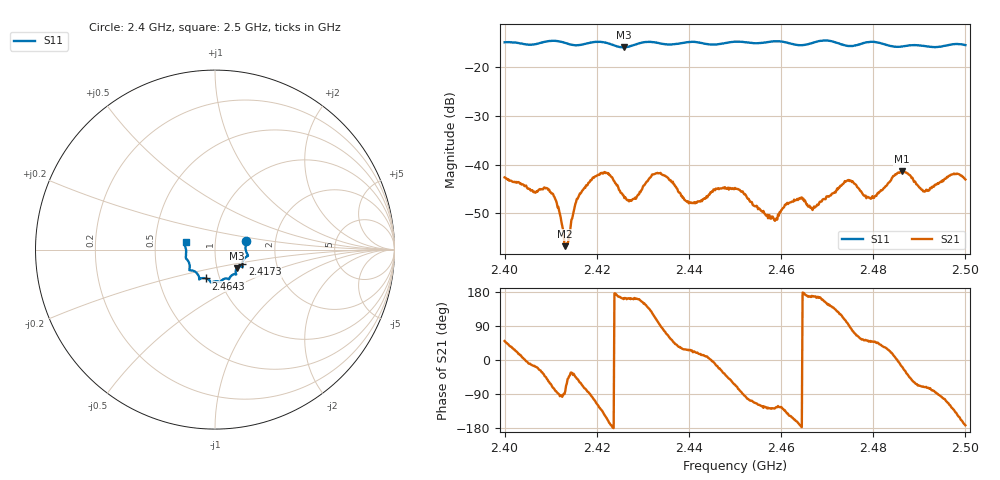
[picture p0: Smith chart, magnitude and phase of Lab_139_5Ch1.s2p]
# Hz S RI R 50
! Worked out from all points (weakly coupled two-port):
!   601 points, 2.4 GHz to 2.5 GHz, reference 50 ohm
!   highest |S21| = -41.36 dB at 2.4862 GHz (marker M1); lowest = -56.7 dB at 2.4132 GHz (marker M2)
!   lowest |S11| = -15.9 dB at 2.4258 GHz (marker M3), VSWR 1.38, Z = 62.3 - j13.3 ohm
!   |S11| at or under -10 dB: start of sweep to end of sweep
!   S12 and S22 are empty: the file has one direction only
!   S11 on the Smith chart (normalised r, x): 2.4 GHz: 1.41, +0.14; 2.4173 GHz: 1.34, -0.23; 2.4643 GHz: 0.86, -0.28; 2.5 GHz: 0.72, +0.06
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2.4e9  0.1733 0.0491  0.00475 0.00567  0 0  0 0
2.41e9  0.1835 -0.0324  0.00238 -0.00464  0 0  0 0
2.411667e9  0.1816 -0.0359  5.04e-05 -0.00368  0 0  0 0
2.413167e9  0.1725 -0.0416  0.000208 -0.00144  0 0  0 0
2.416667e9  0.1528 -0.0745  0.00229 -0.00467  0 0  0 0
2.417333e9  0.1522 -0.082  0.00153 -0.00558  0 0  0 0
2.422e9  0.1513 -0.0948  -0.00722 -0.00403  0 0  0 0
2.425833e9  0.1217 -0.1038  -0.00454 0.0016  0 0  0 0
2.428e9  0.1147 -0.1236  -0.00419 0.00149  0 0  0 0
2.433333e9  0.1129 -0.1368  -0.00135 0.00802  0 0  0 0
2.4405e9  0.0787 -0.1643  0.00366 0.0017  0 0  0 0
2.45e9  0.0292 -0.1807  0.00244 -0.00522  0 0  0 0
2.458667e9  -0.0208 -0.1837  -0.00162 -0.0021  0 0  0 0
2.464333e9  -0.05 -0.1607  -0.00451 -0.000371  0 0  0 0
2.466667e9  -0.076 -0.1599  -0.00348 0.000653  0 0  0 0
2.474333e9  -0.1 -0.1322  -0.000993 0.00677  0 0  0 0
2.479e9  -0.1405 -0.1153  0.00304 0.00347  0 0  0 0
2.483333e9  -0.1407 -0.0902  0.00583 0.00292  0 0  0 0
2.486167e9  -0.1508 -0.0619  0.00819 -0.00245  0 0  0 0
2.491333e9  -0.1615 -0.0313  0.00169 -0.00506  0 0  0 0
2.497e9  -0.1695 0.026  -0.00463 -0.00641  0 0  0 0
2.5e9  -0.1635 0.0418  -0.00698 -0.000952  0 0  0 0
